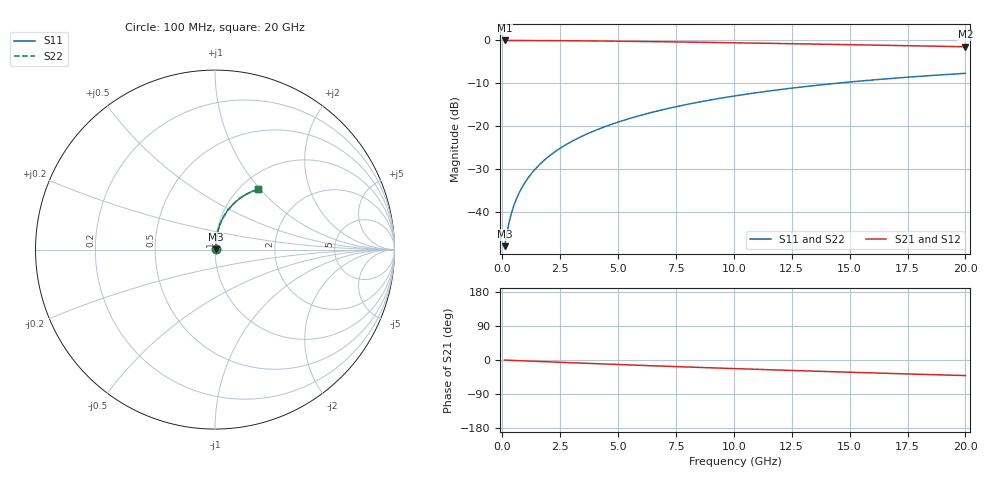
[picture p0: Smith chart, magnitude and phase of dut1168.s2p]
! Touchstone file exported from HFSS 2024.1.0
!  File:  C:/UserFiles/LocalFiles/RDL_TSV_Batchsim/temp_RDL_bottom_1168_1780056756.aedt
!  Generated:  08:14:57 PM May 29, 2026
!  Design:  RDL_bottom
!  Project:  temp_RDL_bottom_1168_1780056756
!  Setup:  Setup1
!  Solution:  Sweep
! Variables:
!  dtsv = 10.80580581um
!  hbump = 3um
!  htsv = 67.51um
!  ldown = 551.55um
!  lrdl = 100um
!  p = 40
!  p1 = 51.06um
!  rhole = 1um
!  t = 450um
!  tdown = 3.43um
!  trdl = 3.915915916um
!  wdown = 18.16um
!  wrdl = 20um
# GHz S MA R 50.000000
! Terminal data exported
! Port[1] = RDL1_T1
! Port[2] = RDL1_T2
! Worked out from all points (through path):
!   200 points, 100 MHz to 20 GHz, reference 50 ohm
!   highest |S21| = -0.03 dB at 100 MHz (marker M1); lowest = -1.5 dB at 20 GHz (marker M2)
!   group delay of S21, straight-line fit = 5.68 ps
!   lowest |S11| = -47.8 dB at 100 MHz (marker M3), VSWR 1.01, Z = 50.3 + j0.239 ohm
!   |S11| at or under -10 dB: start of sweep to 14.4 GHz
!   |S22| runs from -47.8 to -7.7 dB; largest |S21 - S12| = 2e-15
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0.1  0.004059 35.7  0.9967 -0.3  0.9967 -0.3  0.004059 35.7
! Gamma 0 0 0 0
! Port Impedance 50 0 50 0
0.2  0.005803 54.0  0.9966 -0.5  0.9966 -0.5  0.005803 54.0
0.3  0.007817 63.0  0.9964 -0.8  0.9964 -0.8  0.007817 63.0
0.4  0.009902 68.1  0.9963 -1.0  0.9963 -1.0  0.009902 68.1
0.5  0.01201 71.4  0.9961 -1.2  0.9961 -1.2  0.01201 71.4
0.6  0.01413 73.8  0.9959 -1.5  0.9959 -1.5  0.01413 73.8
0.8  0.01841 76.9  0.9956 -2.0  0.9956 -2.0  0.01841 76.9
1.1  0.0249 79.5  0.995 -2.7  0.995 -2.7  0.0249 79.5
1.5  0.03363 81.2  0.9941 -3.7  0.9941 -3.7  0.03363 81.2
1.8  0.04024 81.9  0.9933 -4.4  0.9933 -4.4  0.04024 81.9
2.1  0.04687 82.3  0.9923 -5.1  0.9923 -5.1  0.04687 82.3
2.7  0.06023 82.5  0.99 -6.6  0.99 -6.6  0.06023 82.5
3.5  0.07819 82.1  0.9863 -8.5  0.9863 -8.5  0.07819 82.1
4.2  0.09403 81.5  0.9823 -10.1  0.9823 -10.1  0.09403 81.5
5  0.1122 80.6  0.9773 -11.9  0.9773 -11.9  0.1122 80.6
5.9  0.1328 79.3  0.9709 -14.0  0.9709 -14.0  0.1328 79.3
6.8  0.1534 77.9  0.9641 -15.9  0.9641 -15.9  0.1534 78.0
8.4  0.1896 75.2  0.9509 -19.4  0.9509 -19.4  0.1897 75.2
10.1  0.2274 72.1  0.936 -22.9  0.936 -22.9  0.2274 72.2
13.4  0.2966 66.0  0.9054 -29.3  0.9054 -29.3  0.2967 66.0
16.7  0.359 60.0  0.8738 -35.4  0.8738 -35.4  0.3591 60.0
20  0.4138 54.3  0.8423 -41.1  0.8423 -41.1  0.4139 54.3
